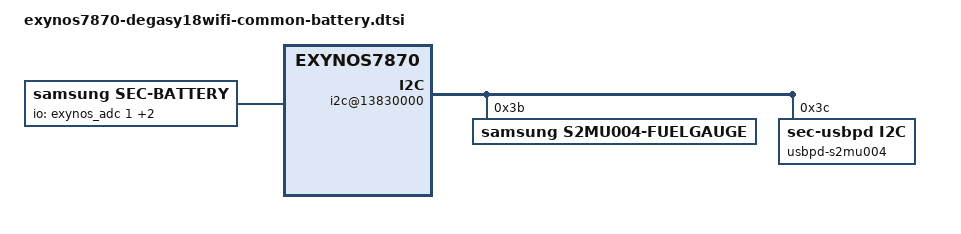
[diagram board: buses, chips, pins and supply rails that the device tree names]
/*
 * SAMSUNG UNIVERSAL5433 board device tree source
 *
 * Copyright (c) 2013 Samsung Electronics Co., Ltd.
 *		http://www.samsung.com
 *
 * This program is free software; you can redistribute it and/or modify
 * it under the terms of the GNU General Public License version 2 as
 * published by the Free Software Foundation.
 */

/ {
	pinctrl@139F0000 {
		fuel_irq: fuel-irq {
			samsung,pins = "gpa0-3";
			samsung,pin-function = <0>;
			samsung,pin-pud = <0>;
			samsung,pin-drv = <0>;
		};
	};

	pinctrl@139F0000 {
		if_pmic_irq: if-pmic-irq {
			samsung,pins = "gpa2-7";
			samsung,pin-function = <0>;
			samsung,pin-pud = <0>;
			samsung,pin-drv = <0>;
		};

		usbpd_irq: usbpd-irq {
			samsung,pins = "gpa2-6";
			samsung,pin-function = <0x0f>;
			samsung,pin-pud = <0>;
			samsung,pin-drv = <0>;
		};
	};

	i2c@13830000 {
		status = "okay";
		s2mu004-fuelgauge@3B {
			compatible = "samsung,s2mu004-fuelgauge";
			reg = <0x3B>;
			pinctrl-names = "default";
			pinctrl-0 = <&fuel_irq>;
			fuelgauge,fuel_int = <&gpa0 3 0>;
			fuelgauge,fuel_alert_soc = <1>;
			fuelgauge,fuel_alert_vol = <3300>;
			fuelgauge,capacity_max = <1000>;
			fuelgauge,capacity_max_margin = <200>;
			fuelgauge,capacity_min = <0>;
			fuelgauge,capacity_calculation_type = <28>;
			fuelgauge,capacity_full = <2450>;
			fuelgauge,type_str = "SDI";
			fuelgauge,model_type = <1>;
		};

		usbpd-s2mu004@3C {
			compatible = "sec-usbpd,i2c";
			reg = <0x3C>;
			pinctrl-names = "default";
			pinctrl-0     = <&usbpd_irq>;
			usbpd,usbpd_int = <&gpa2 6 0>;
		};
	};

	battery_params {
			battery,battery_table3 = <229 11 77 11 180 10 30 10 160 9
						43 9 192 8 92 8 224 7 154 7
						62 7 228 6 168 6 124 6 90 6
						64 6 35 6 251 5 198 5 145 5
						69 5 168 1 244 8 132 8 21 8
						165 7 53 7 197 6 85 6 229 5
						118 5 6 5 150 4 38 4 182 3
						70 3 214 2 103 2 247 1 135 1
						23 1 167 0 55 0 200 15>;

			battery,battery_table4 = <69 69 69 69 67 68 66 67 67 65
						66 66 68 69 70 71 73 77 84 94
						112 212>;

			battery,batcap = <0xF0 0x23 0xFC 0x08>; /* [0x0E] [0x0F] [0x10] [0x11] */
			battery,accum = <0x7 0xD8>; /* [0x45] [0x44] */

			battery,soc_arr_val = <11193 10647 10101 9555 9009 8462 7916 7370 6824 6278 5732 5185 4639 4093 3547 3001 2455 1909 1362 816 270 (-276)>;
			battery,ocv_arr_val = <44869 44124 43379 42645 42030 41459 40940 40447 39846 39501 39051 38615 38319 38107 37942 37814 37669 37478 37216 36958 36588 32070>;
	};

	battery {
		status = "okay";

		pinctrl-names = "default";

		compatible = "samsung,sec-battery";
		battery,vendor = "SDI SDI";
		battery,charger_name = "s2mu004-charger";
		battery,fuelgauge_name = "s2mu004-fuelgauge";
		battery,technology = <2>; /* POWER_SUPPLY_TECHNOLOGY_LION */

		battery,chip_vendor = "LSI";
		battery,temp_adc_type = <1>; /* SEC_BATTERY_ADC_TYPE_AP */

		battery,polling_time = <10 30 30 30 3600>;

		battery,temp_table_adc = <317 325 334 342 351 360 369 381 392 404 417 432 447 462 477 493 508
					523 538 553 568 589 610 630 651 672 694 716 737 759 781 805 828 852 875
					872 905 938 971 1004 1037 1070 1103 1136 1169 1202 1242 1283 1323 1364 1404
					1446 1489 1531 1574 1616 1654 1692 1731 1769 1807 1850 1893 1936 1979 2023 2067
					2112 2156 2200 2246 2291 2337 2382 2428 2471 2514 2558 2601 2644 2687 2729 2771
					2813 2855 2897 2934 2972 3009 3047 3084 3106 3129 3151 3174 3196 3241 3287 3332
					3378 3423 3440 3458 3475 3493 3510 3528 3546 3565 3583 3601>;

		battery,temp_table_data = <900 890 880 870 860 850 840 830 820 810 800 790 780 770 760 750 740 730 720 710 700 690
					   680 670 660 650 640 630 620 610 600 590 580 570 560 550 540 530 520 510 500 490 480 470
					   460 450 440 430 420 410 400 390 380 370 360 350 340 330 320 310 300 290 280 270 260 250
					   240 230 220 210 200 190 180 170 160 150 140 130 120 110 100 90 80 70 60 50 40 30 20 10
					   0 (-10) (-20) (-30) (-40) (-50) (-60) (-70) (-80) (-90) (-100) (-110) (-120) (-130) (-140)
					   (-150) (-160) (-170) (-180) (-190) (-200)>;

		battery,input_current_limit = <1000 500 500 1000 500 900 1000 500 1000 0 820 820 820 1000 1000 0 0 400 700 1000 300 1000 1000 0 1000 1000 1000 1000 80 1000 1000 1000 1000 1000 820 820>;
		battery,fast_charging_current = <1000 0 0 1000 500 1000 1000 500 1000 0 1000 1000 1000 1000 1000 0 0 400 700 1000 300 1000 1000 0 1000 1000 1000 1000 80 1000 1000 1000 0 1000 1000 1000>;
		battery,full_check_current_1st = <200 0 0 200 200 200 200 200 200 0 200 200 200 200 200 0 0 200 200 200 200 200 200 0 200 200 200 200 0 200 200 200 0 200 200 200>;
		battery,full_check_current_2nd = <150 0 0 150 150 150 150 150 150 0 150 150 150 150 150 0 0 150 150 150 150 150 150 0 150 150 150 150 0 150 150 150 0 150 150 150>;

		battery,wireless_cc_cv = <86>;
		battery,inbat_voltage = <1>;
		battery,inbat_voltage_table_adc = <2980 2941 2890 2877 2850 2807 2780 2736 2702 2660 2628 2602 2575 2545 2518>;
		battery,inbat_voltage_table_data = <410 405 400 395 390 385 380 375 370 365 360 355 350 345 340>;

		battery,adc_check_count = <5>;

		battery,cable_check_type = <4>; /* SEC_BATTERY_CABLE_CHECK_PSY */
		battery,cable_source_type = <1>; /* SEC_BATTERY_CABLE_SOURCE_EXTERNAL */
		battery,polling_type = <1>; /* SEC_BATTERY_MONITOR_ALARM */
		battery,monitor_initial_count = <0>;

		battery,battery_check_type = <0>; /* SEC_BATTERY_CHECK_NONE */
		battery,check_count = <0>;

		battery,check_adc_max = <1440>;
		battery,check_adc_min = <0>;

		battery,ovp_uvlo_check_type = <3>; /* SEC_BATTERY_OVP_UVLO_CHGPOLLING */

		battery,thermal_source = <2>; /* SEC_BATTERY_THERMAL_SOURCE_ADC */

		battery,temp_check_type = <2>; /* SEC_BATTERY_TEMP_CHECK_TEMP */
		battery,temp_check_count = <1>;
		battery,temp_highlimit_threshold_normal = <800>;
		battery,temp_highlimit_recovery_normal = <750>;
		battery,temp_high_threshold_normal = <500>;
		battery,temp_high_recovery_normal = <465>;
		battery,temp_low_threshold_normal = <0>;
		battery,temp_low_recovery_normal = <55>;
		battery,temp_highlimit_threshold_lpm = <800>;
		battery,temp_highlimit_recovery_lpm = <750>;
		battery,temp_high_threshold_lpm = <500>;
		battery,temp_high_recovery_lpm = <465>;
		battery,temp_low_threshold_lpm = <0>;
		battery,temp_low_recovery_lpm = <55>;
		battery,full_check_type = <2>; /* SEC_BATTERY_FULLCHARGED_FG_CURRENT */
		battery,full_check_type_2nd = <0>; /* NONE */
		battery,full_check_count = <1>;
		battery,chg_gpio_full_check = <0>;
		battery,chg_polarity_full_check = <1>;

		battery,chg_high_temp_1st = <530>;
		battery,chg_high_temp_2nd = <530>;
		battery,chg_high_temp_recovery = <525>;
		battery,chg_charging_limit_current = <1300>;
		battery,chg_charging_limit_current_2nd = <1300>;
		battery,chg_skip_check_capacity = <10>;
		battery,chg_skip_check_time = <600>;

		battery,wpc_high_temp = <420>;
		battery,wpc_high_temp_recovery = <410>;
		battery,wpc_charging_limit_current = <450>;

		/* SEC_BATTERY_FULL_CONDITION_SOC |
		   SEC_BATTERY_FULL_CONDITION_NOTIMEFULL |
		   SEC_BATTERY_FULL_CONDITION_VCELL */
		battery,full_condition_type = <15>;
		battery,full_condition_soc = <93>;
		battery,full_condition_vcell = <4000>;

		battery,recharge_check_count = <2>;
		battery,recharge_condition_type = <4>; /* SEC_BATTERY_RECHARGE_CONDITION_VCELL */
		battery,recharge_condition_soc = <98>;
		battery,recharge_condition_vcell = <4040>;

		battery,charging_total_time = <21600>;
		battery,recharging_total_time = <5400>;
		battery,charging_reset_time = <0>;


		io-channels = <&exynos_adc 1>, <&exynos_adc 5>, <&exynos_adc 6>;
		io-channel-names = "adc-temp", "adc-in-bat", "adc-chg-temp";
		#io-channel-cells = <1>;
		io-channel-ranges;

		battery,chg_float_voltage = <4090>;
	};

	s2mu004-charger {
		status = "disable";
		compatible = "samsung,s2mu004-charger";
		battery,is_1MHz_switching = <1>;
		battery,chg_gpio_en = <0>;
		battery,chg_polarity_en = <0>;
		battery,chg_gpio_status = <0>;
		battery,chg_polarity_status = <0>;
		battery,chg_float_voltage = <4090>;
	};
};
